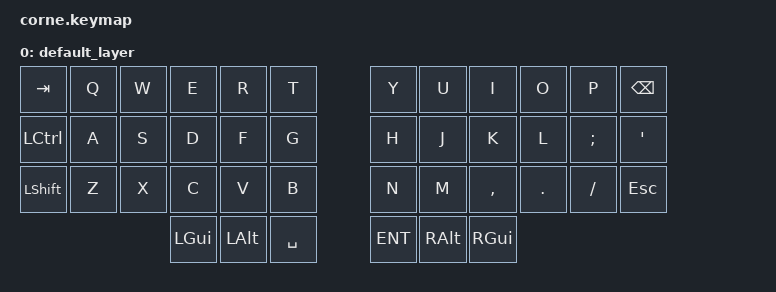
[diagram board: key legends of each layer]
#include <behaviors.dtsi>
#include <dt-bindings/zmk/keys.h>
#include <dt-bindings/zmk/bt.h>

/ {
    keymap {
        compatible = "zmk,keymap";
        default_layer {
            bindings = <
                &kp TAB   &kp Q &kp W &kp E &kp R &kp T   &kp Y &kp U &kp I     &kp O   &kp P    &kp BKSP
                &kp LCTRL &kp A &kp S &kp D &kp F &kp G   &kp H &kp J &kp K     &kp L   &kp SEMI &kp SQT
                &kp LSHFT &kp Z &kp X &kp C &kp V &kp B   &kp N &kp M &kp COMMA &kp DOT &kp FSLH &kp ESC
                                &kp LGUI &kp LALT &kp SPC &kp ENT &kp RALT &kp RGUI
            >;
        };
    };
};
